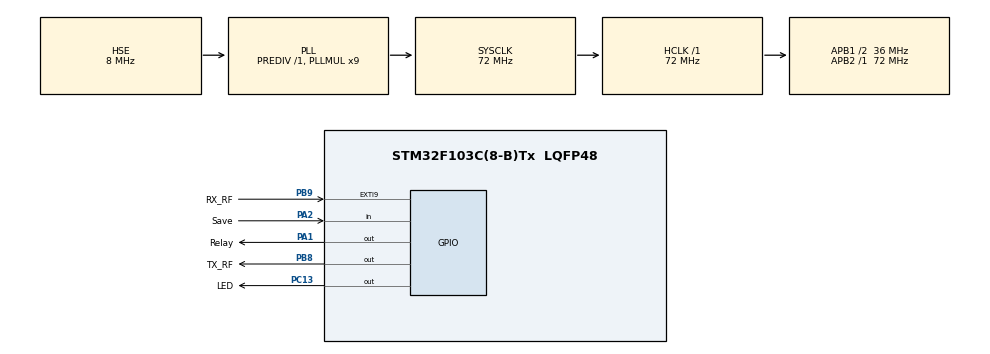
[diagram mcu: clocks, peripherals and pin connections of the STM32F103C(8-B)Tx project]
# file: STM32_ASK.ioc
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Mcu.Family=STM32F1
Mcu.Name=STM32F103C(8-B)Tx
Mcu.Package=LQFP48
NVIC.PriorityGroup=NVIC_PRIORITYGROUP_4
PA1.GPIO_Label=Relay
PA1.Signal=GPIO_Output
PA13.Mode=Serial_Wire
PA13.Signal=SYS_JTMS-SWDIO
PA14.Mode=Serial_Wire
PA14.Signal=SYS_JTCK-SWCLK
PA2.GPIO_Label=Save
PA2.GPIO_PuPd=GPIO_PULLUP
PA2.Signal=GPIO_Input
PB8.GPIO_Label=TX_RF
PB8.Signal=GPIO_Output
PB9.GPIO_Label=RX_RF
PB9.GPIO_ModeDefaultEXTI=GPIO_MODE_IT_RISING_FALLING
PB9.Signal=GPXTI9
PC13-TAMPER-RTC.GPIO_Label=LED
PC13-TAMPER-RTC.PinState=GPIO_PIN_SET
PC13-TAMPER-RTC.Signal=GPIO_Output
PD0-OSC_IN.Mode=HSE-External-Oscillator
PD0-OSC_IN.Signal=RCC_OSC_IN
PD1-OSC_OUT.Mode=HSE-External-Oscillator
PD1-OSC_OUT.Signal=RCC_OSC_OUT
ProjectManager.HeapSize=0x200
ProjectManager.StackSize=0x400
ProjectManager.TargetToolchain=STM32CubeIDE
RCC.AHBFreq_Value=72000000
RCC.APB1CLKDivider=RCC_HCLK_DIV2
RCC.APB1Freq_Value=36000000
RCC.APB1TimFreq_Value=72000000
RCC.APB2Freq_Value=72000000
RCC.APB2TimFreq_Value=72000000
RCC.HCLKFreq_Value=72000000
RCC.PLLMUL=RCC_PLL_MUL9
RCC.PLLSourceVirtual=RCC_PLLSOURCE_HSE
RCC.SYSCLKFreq_VALUE=72000000
RCC.SYSCLKSource=RCC_SYSCLKSOURCE_PLLCLK
RCC.USBFreq_Value=72000000
TIM1.Period=0xffff-1
TIM1.Prescaler=72-1
VP_TIM1_VS_ClockSourceINT.Mode=Internal
board=custom

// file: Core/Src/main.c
/* USER CODE BEGIN Header */
/**
 ******************************************************************************
 * @file           : main.c
 * @brief          : Main program body
 ******************************************************************************
 * @attention
 *
 * Copyright (c) 2023 STMicroelectronics.
 * All rights reserved.
 *
 * This software is licensed under terms that can be found in the LICENSE file
 * in the root directory of this software component.
 * If no LICENSE file comes with this software, it is provided AS-IS.
 *
 ******************************************************************************
 */
/* USER CODE END Header */
#include "main.h"
#include "tim.h"
#include "gpio.h"

/* USER CODE BEGIN Includes */

#include "eeprom.h"
#include "ask.h"
#include "ask_hal.h"
#include "stdbool.h"

/* USER CODE END Includes */

void SystemClock_Config(void);

/* USER CODE BEGIN 0 */

uint8_t inputCode[3] = { 0 };
uint16_t SavedCode[2][3] = { 0 };
bool SaveFlag = 0, ResetFlag = 0;
uint16_t Select = 0;
uint32_t lastSendTime = 0UL;

/* USER CODE END 0 */

int main(void) {

	/* MCU Configuration--------------------------------------------------------*/

	/* Reset of all peripherals, Initializes the Flash interface and the Systick. */
	HAL_Init();

	/* Configure the system clock */
	SystemClock_Config();

	/* Initialize all configured peripherals */
	MX_GPIO_Init();
	MX_TIM1_Init();
	/* USER CODE BEGIN 2 */
	HAL_FLASH_Unlock();
	EE_Init();

	EE_ReadVariable(0, &Select);

	EE_ReadVariable(1, &SavedCode[0][0]);
	EE_ReadVariable(2, &SavedCode[0][1]);
	EE_ReadVariable(3, &SavedCode[0][2]);

	EE_ReadVariable(4, &SavedCode[1][0]);
	EE_ReadVariable(5, &SavedCode[1][1]);
	EE_ReadVariable(6, &SavedCode[1][2]);

	HAL_FLASH_Lock();

	ask433.fn_init_rx = ask_init_rx433;
	ask433.fn_init_tx = ask_init_tx433;
	ask433.fn_micros = ask_micros_433;
	ask433.fn_read_pin = ask_read_pin_433;
	ask433.fn_write_pin = ask_write_pin_433;
	ask433.fn_delay_ms = ask_delay_ms_433;
	ask433.fn_delay_us = ask_delay_us_433;
	ask_init(&ask433);
	/* USER CODE END 2 */

	/* Infinite loop */
	/* USER CODE BEGIN WHILE */
	while (1) {
		if (!HAL_GPIO_ReadPin(Save_GPIO_Port, Save_Pin)) {
			lastSendTime = HAL_GetTick();
			while (!HAL_GPIO_ReadPin(Save_GPIO_Port, Save_Pin)) {
				if (HAL_GetTick() - lastSendTime > 3000) {
					for (uint8_t i = 0; i < 3; i++)
						SavedCode[0][i] = SavedCode[1][i] = 0;
					HAL_FLASH_Unlock();
					for (uint8_t i = 0; i < 7; i++) {
						EE_WriteVariable(i, 0);
						HAL_Delay(10);
					}
					HAL_FLASH_Lock();
					for (uint8_t i = 0; i < 3; i++) {
						HAL_GPIO_WritePin(LED_GPIO_Port, LED_Pin, 0);
						HAL_Delay(50);
						HAL_GPIO_WritePin(LED_GPIO_Port, LED_Pin, 1);
						HAL_Delay(50);
					}
					Select = 0;
					ResetFlag = 1;
					break;
				}
			}
			if (!ResetFlag)
				SaveFlag = 1;
			else
				ResetFlag = 0;
			while (!HAL_GPIO_ReadPin(Save_GPIO_Port, Save_Pin))
				;
		}

		if (ask_available(&ask433)) {
			ask_read_bytes(&ask433, inputCode);
			if (SaveFlag) {
				SaveFlag = 0;
				for (uint8_t i = 0; i < 3; i++)
					SavedCode[Select][i] = inputCode[i];

				HAL_FLASH_Unlock();

				EE_WriteVariable((Select * 3) + 1, SavedCode[Select][0]);
				HAL_Delay(10);
				EE_WriteVariable((Select * 3) + 2, SavedCode[Select][1]);
				HAL_Delay(10);
				EE_WriteVariable((Select * 3) + 3, SavedCode[Select][2]);
				HAL_Delay(10);

				HAL_FLASH_Lock();

				if (Select >= 1) {
					Select = 0;
					HAL_FLASH_Unlock();
					EE_WriteVariable(0, Select);
					HAL_Delay(10);
					HAL_FLASH_Lock();
				} else {
					Select++;
					HAL_FLASH_Unlock();
					EE_WriteVariable(0, Select);
					HAL_Delay(10);
					HAL_FLASH_Lock();
				}
				for (uint8_t i = 0; i < 3; i++) {
					HAL_GPIO_WritePin(LED_GPIO_Port, LED_Pin, 0);
					HAL_Delay(100);
					HAL_GPIO_WritePin(LED_GPIO_Port, LED_Pin, 1);
					HAL_Delay(100);
				}
			} else {
				if ((inputCode[0] == SavedCode[0][0])
						&& (inputCode[1] == SavedCode[0][1])
						&& (inputCode[2] == SavedCode[0][2])) {
					HAL_GPIO_WritePin(LED_GPIO_Port, LED_Pin, 0);
					HAL_GPIO_WritePin(Relay_GPIO_Port, Relay_Pin, 1);
				}
				if ((inputCode[0] == SavedCode[1][0])
						&& (inputCode[1] == SavedCode[1][1])
						&& (inputCode[2] == SavedCode[1][2])) {
					HAL_GPIO_WritePin(LED_GPIO_Port, LED_Pin, 1);
					HAL_GPIO_WritePin(Relay_GPIO_Port, Relay_Pin, 0);
				}
			}
			ask_wait(&ask433);
		}
		if (SaveFlag && HAL_GetTick() - lastSendTime > 500) {
			HAL_GPIO_TogglePin(LED_GPIO_Port, LED_Pin);
			lastSendTime = HAL_GetTick();
		}
		/* USER CODE END WHILE */

	}
}

void SystemClock_Config(void) {
	RCC_OscInitTypeDef RCC_OscInitStruct = { 0 };
	RCC_ClkInitTypeDef RCC_ClkInitStruct = { 0 };

	/** Initializes the RCC Oscillators according to the specified parameters
	 * in the RCC_OscInitTypeDef structure.
	 */
	RCC_OscInitStruct.OscillatorType = RCC_OSCILLATORTYPE_HSE;
	RCC_OscInitStruct.HSEState = RCC_HSE_ON;
	RCC_OscInitStruct.HSEPredivValue = RCC_HSE_PREDIV_DIV1;
	RCC_OscInitStruct.HSIState = RCC_HSI_ON;
	RCC_OscInitStruct.PLL.PLLState = RCC_PLL_ON;
	RCC_OscInitStruct.PLL.PLLSource = RCC_PLLSOURCE_HSE;
	RCC_OscInitStruct.PLL.PLLMUL = RCC_PLL_MUL9;
	if (HAL_RCC_OscConfig(&RCC_OscInitStruct) != HAL_OK) {
		Error_Handler();
	}

	/** Initializes the CPU, AHB and APB buses clocks
	 */
	RCC_ClkInitStruct.ClockType = RCC_CLOCKTYPE_HCLK | RCC_CLOCKTYPE_SYSCLK
			| RCC_CLOCKTYPE_PCLK1 | RCC_CLOCKTYPE_PCLK2;
	RCC_ClkInitStruct.SYSCLKSource = RCC_SYSCLKSOURCE_PLLCLK;
	RCC_ClkInitStruct.AHBCLKDivider = RCC_SYSCLK_DIV1;
	RCC_ClkInitStruct.APB1CLKDivider = RCC_HCLK_DIV2;
	RCC_ClkInitStruct.APB2CLKDivider = RCC_HCLK_DIV1;

	if (HAL_RCC_ClockConfig(&RCC_ClkInitStruct, FLASH_LATENCY_2) != HAL_OK) {
		Error_Handler();
	}
}

void Error_Handler(void) {
	__disable_irq();
	while (1) {
	}
}
